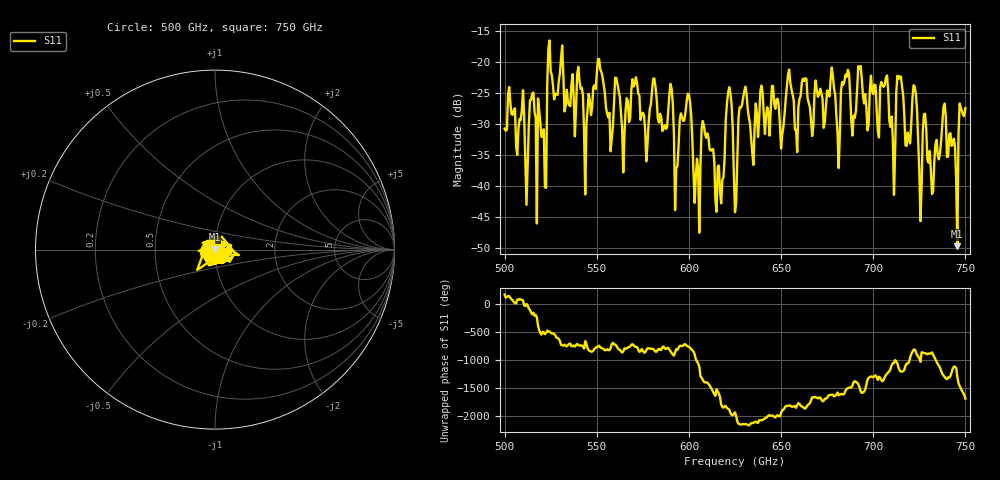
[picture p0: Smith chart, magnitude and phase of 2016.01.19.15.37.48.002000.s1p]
!Created with skrf (http://scikit-rf.org).
# GHz S RI R 50.0
!freq ReS11 ImS11
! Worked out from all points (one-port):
!   401 points, 500 GHz to 750 GHz, reference 50 ohm
!   lowest |S11| = -49.8 dB at 745.6 GHz (marker M1), VSWR 1.01, Z = 49.7 + j0.182 ohm
!   |S11| at or under -10 dB: start of sweep to end of sweep
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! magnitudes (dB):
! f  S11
! 500 GHz  -30.7
! 511.9 GHz  -43.1
! 515 GHz  -25.1
! 521.2 GHz  -30.8
! 524.4 GHz  -16.5
! 531.2 GHz  -17.3
! 543.8 GHz  -41.4
! 562.5 GHz  -25.6
! 590 GHz  -23.5
! 593.8 GHz  -36.8
! 600 GHz  -25.2
! 604.4 GHz  -35.6
! 608.1 GHz  -30.3
! 616.2 GHz  -36.7
! 621.9 GHz  -24.0
! 625 GHz  -44.3
! 630 GHz  -24.7
! 656.2 GHz  -25.2
! 687.5 GHz  -25.3
! 706.2 GHz  -23.6
! 710.6 GHz  -32.4
! 714.4 GHz  -22.3
! 718.8 GHz  -31.4
! 722.5 GHz  -23.9
! 725.6 GHz  -45.7
! 738.1 GHz  -27.2
! 745.6 GHz  -49.8
! 750 GHz  -27.4
